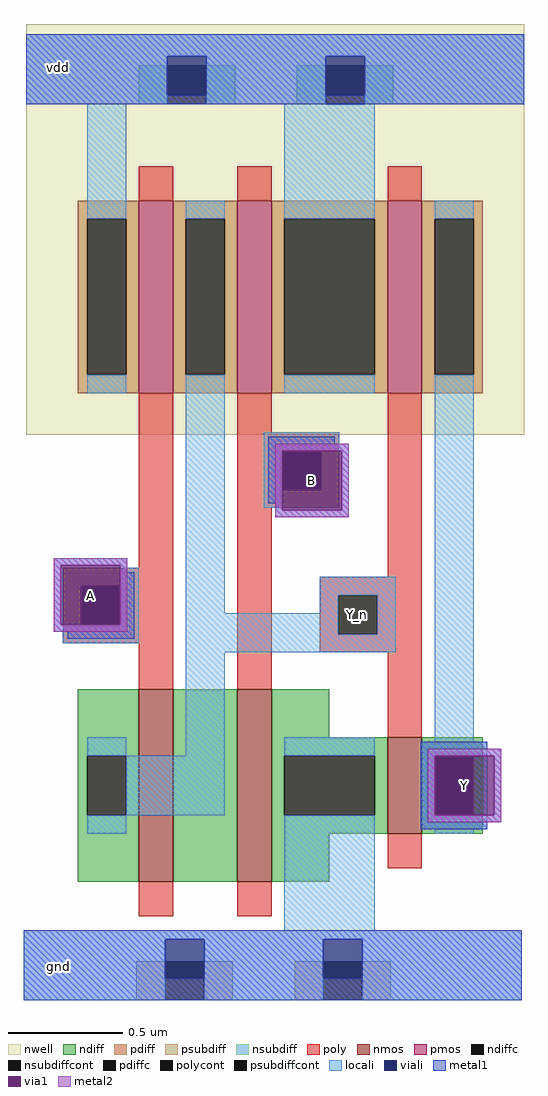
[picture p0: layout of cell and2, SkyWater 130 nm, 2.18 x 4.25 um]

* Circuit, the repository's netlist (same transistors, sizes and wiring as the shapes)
* NGSPICE file created from and2.ext - technology: sky130A

.subckt and2 A B Y gnd vdd
X0 vdd B Y_n vdd sky130_fd_pr__pfet_01v8 ad=0.212 pd=1.35 as=0.118 ps=1.12 w=0.84 l=0.15
X1 Y Y_n vdd vdd sky130_fd_pr__pfet_01v8 ad=0.223 pd=2.21 as=0.212 ps=1.35 w=0.84 l=0.15
X2 Y Y_n gnd gnd sky130_fd_pr__nfet_01v8 ad=0.111 pd=1.37 as=0.159 ps=1.35 w=0.42 l=0.15
X3 Y_n A vdd vdd sky130_fd_pr__pfet_01v8 ad=0.118 pd=1.12 as=0.223 ps=2.21 w=0.84 l=0.15
X4 gnd B a_30_n42# gnd sky130_fd_pr__nfet_01v8 ad=0.159 pd=1.35 as=0.118 ps=1.12 w=0.84 l=0.15
X5 a_30_n42# A Y_n gnd sky130_fd_pr__nfet_01v8 ad=0.118 pd=1.12 as=0.223 ps=2.21 w=0.84 l=0.15
.ends

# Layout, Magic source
magic
tech sky130A
magscale 1 2
<< nwell >>
rect -98 348 336 706
<< nmos >>
rect 0 -42 30 126
rect 86 -42 116 126
rect 217 0 247 84
<< pmos >>
rect 0 384 30 552
rect 86 384 116 552
rect 217 384 247 552
<< ndiff >>
rect -53 68 0 126
rect -53 16 -45 68
rect -11 16 0 68
rect -53 -42 0 16
rect 30 -42 86 126
rect 116 84 166 126
rect 116 68 217 84
rect 116 16 127 68
rect 206 16 217 68
rect 116 0 217 16
rect 247 68 300 84
rect 247 16 258 68
rect 292 16 300 68
rect 247 0 300 16
rect 116 -42 166 0
<< pdiff >>
rect -53 536 0 552
rect -53 400 -45 536
rect -11 400 0 536
rect -53 384 0 400
rect 30 536 86 552
rect 30 400 41 536
rect 75 400 86 536
rect 30 384 86 400
rect 116 536 217 552
rect 116 400 127 536
rect 206 400 217 536
rect 116 384 217 400
rect 247 536 300 552
rect 247 400 258 536
rect 292 400 300 536
rect 247 384 300 400
<< ndiffc >>
rect -45 16 -11 68
rect 127 16 206 68
rect 258 16 292 68
<< pdiffc >>
rect -45 400 -11 536
rect 41 400 75 536
rect 127 400 206 536
rect 258 400 292 536
<< psubdiff >>
rect -2 -145 23 -111
rect 57 -145 82 -111
rect 136 -145 161 -111
rect 195 -145 220 -111
<< nsubdiff >>
rect 0 636 25 670
rect 59 636 84 670
rect 138 636 163 670
rect 197 636 222 670
<< psubdiffcont >>
rect 23 -145 57 -111
rect 161 -145 195 -111
<< nsubdiffcont >>
rect 25 636 59 670
rect 163 636 197 670
<< poly >>
rect 0 552 30 582
rect 86 552 116 582
rect 217 552 247 582
rect 0 232 30 384
rect -66 216 30 232
rect -66 182 -50 216
rect -16 182 30 216
rect -66 166 30 182
rect 0 126 30 166
rect 86 350 116 384
rect 86 334 175 350
rect 86 300 125 334
rect 159 300 175 334
rect 86 284 175 300
rect 86 126 116 284
rect 217 224 247 384
rect 158 208 247 224
rect 158 174 174 208
rect 208 174 247 208
rect 158 158 247 174
rect 217 84 247 158
rect 217 -30 247 0
rect 0 -72 30 -42
rect 86 -72 116 -42
<< polycont >>
rect -50 182 -16 216
rect 125 300 159 334
rect 174 174 208 208
<< locali >>
rect -98 678 336 697
rect -98 636 25 678
rect 59 636 163 678
rect 197 636 336 678
rect -45 536 -11 636
rect -45 384 -11 400
rect 41 536 75 552
rect -66 216 0 232
rect -66 182 -50 216
rect -16 182 0 216
rect -66 166 0 182
rect 41 192 75 400
rect 127 536 206 636
rect 127 384 206 400
rect 258 536 292 552
rect 109 334 175 350
rect 109 300 125 334
rect 159 300 175 334
rect 109 284 175 300
rect 158 208 224 224
rect 158 192 174 208
rect 41 174 174 192
rect 208 174 224 208
rect 41 158 224 174
rect -45 68 -11 84
rect 41 68 75 158
rect -11 16 75 68
rect 127 68 206 84
rect 258 80 292 400
rect -45 0 -11 16
rect 127 -84 206 16
rect 246 68 304 80
rect 246 16 258 68
rect 292 16 304 68
rect 246 4 304 16
rect 258 0 292 4
rect -100 -92 334 -84
rect -100 -145 23 -92
rect 57 -145 161 -92
rect 195 -145 334 -92
<< viali >>
rect 25 670 59 678
rect 25 644 59 670
rect 163 670 197 678
rect 163 644 197 670
rect -50 182 -16 216
rect 125 300 159 334
rect 258 16 292 68
rect 23 -111 57 -92
rect 23 -126 57 -111
rect 161 -111 195 -92
rect 161 -126 195 -111
<< metal1 >>
rect -98 678 336 697
rect -98 644 25 678
rect 59 644 163 678
rect 197 644 336 678
rect -98 636 336 644
rect 113 340 171 346
rect 113 334 183 340
rect 113 288 125 334
rect 119 282 125 288
rect 177 282 183 334
rect 119 276 183 282
rect -74 234 -10 240
rect -74 182 -68 234
rect -16 228 -10 234
rect -16 182 -4 228
rect -74 176 -4 182
rect -62 170 -4 176
rect 246 74 304 80
rect 246 68 316 74
rect 246 16 258 68
rect 310 16 316 68
rect 246 10 316 16
rect 246 4 304 10
rect -100 -92 334 -84
rect -100 -126 23 -92
rect 57 -126 161 -92
rect 195 -126 334 -92
rect -100 -145 334 -126
<< via1 >>
rect 125 300 159 334
rect 159 300 177 334
rect 125 282 177 300
rect -68 216 -16 234
rect -68 182 -50 216
rect -50 182 -16 216
rect 258 16 292 68
rect 292 16 310 68
<< metal2 >>
rect 119 334 183 340
rect 119 282 125 334
rect 177 282 183 334
rect 119 276 183 282
rect -74 234 -10 240
rect -74 182 -68 234
rect -16 182 -10 234
rect -74 176 -10 182
rect 252 68 316 74
rect 252 16 258 68
rect 310 16 316 68
rect 252 10 316 16
<< labels >>
rlabel via1 284 42 284 42 5 Y
port 3 s
rlabel via1 151 308 151 308 5 B
port 2 s
rlabel via1 -42 208 -42 208 5 A
port 1 s
rlabel polycont 191 191 191 191 5 Y_n
rlabel metal1 -70 -116 -70 -116 5 gnd
port 4 s
rlabel metal1 -70 668 -70 668 5 vdd
port 5 s
<< end >>
